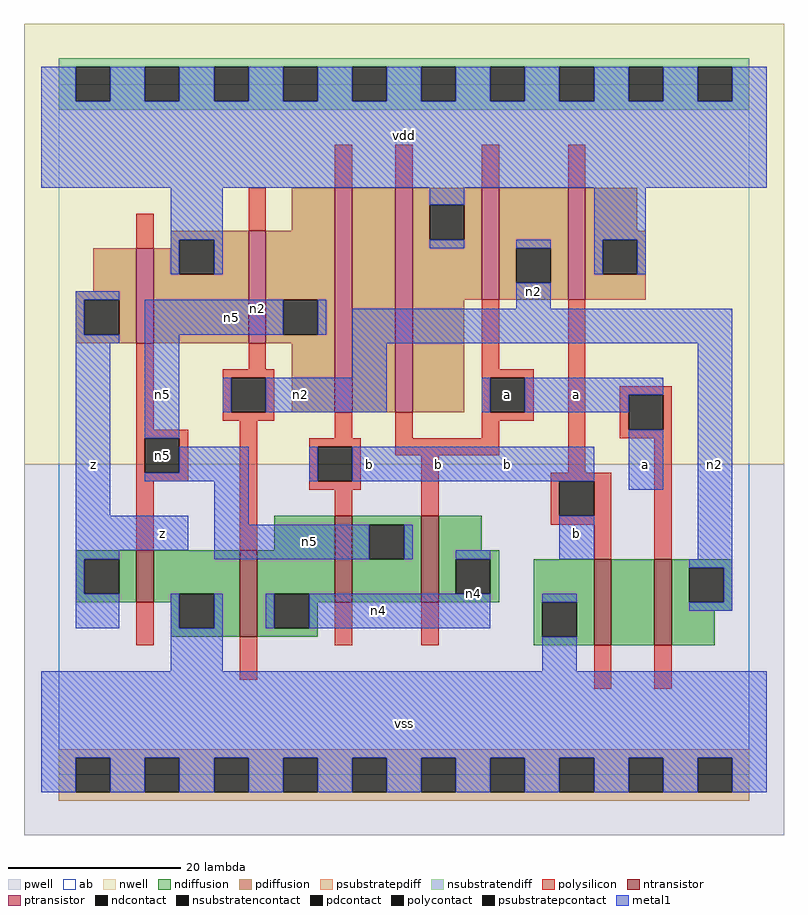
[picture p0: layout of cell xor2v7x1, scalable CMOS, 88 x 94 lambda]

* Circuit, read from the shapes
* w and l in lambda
.subckt xor2v7x1 a b n2 n4 n5 vdd vss z
M1 vss n5 z vss nfet w=6 l=2
M2 n4 n2 vss vss nfet w=10 l=2
M3 n5 b n4 vss nfet w=10 l=2
M4 n4 a n5 vss nfet w=10 l=2
M5 n1 b vss vss nfet w=10 l=2
M6 n2 a n1 vss nfet w=10 l=2
M7 vdd n5 z vdd pfet w=11 l=2
M8 n5 n2 vdd vdd pfet w=13 l=2
M9 n3 b n5 vdd pfet w=26 l=2
M10 vdd a n3 vdd pfet w=26 l=2
M11 n2 a vdd vdd pfet w=13 l=2
M12 vdd b n2 vdd pfet w=13 l=2
.ends

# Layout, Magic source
magic
tech scmos
<< ab >>
rect 0 0 80 80
<< pwell >>
rect -4 -7 84 36
<< nwell >>
rect -4 36 84 87
<< polysilicon >>
rect 32 68 34 73
rect 39 68 41 73
rect 49 68 51 73
rect 59 68 61 73
rect 9 61 11 65
rect 22 63 24 68
rect 9 40 11 50
rect 22 47 24 50
rect 19 46 25 47
rect 19 42 20 46
rect 24 42 25 46
rect 49 47 51 55
rect 49 46 55 47
rect 49 42 50 46
rect 54 42 55 46
rect 19 41 25 42
rect 9 39 15 40
rect 9 35 10 39
rect 14 35 15 39
rect 9 34 15 35
rect 9 26 11 34
rect 21 26 23 41
rect 32 39 34 42
rect 39 39 41 42
rect 49 41 55 42
rect 49 39 51 41
rect 29 38 35 39
rect 29 34 30 38
rect 34 34 35 38
rect 39 37 51 39
rect 29 33 35 34
rect 32 30 34 33
rect 42 30 44 37
rect 59 35 61 55
rect 65 44 71 45
rect 65 40 66 44
rect 70 40 71 44
rect 65 39 71 40
rect 57 34 64 35
rect 57 30 58 34
rect 62 30 64 34
rect 9 15 11 20
rect 57 29 64 30
rect 62 25 64 29
rect 69 25 71 39
rect 21 11 23 16
rect 32 15 34 20
rect 42 15 44 20
rect 62 10 64 15
rect 69 10 71 15
<< ndiffusion >>
rect 25 26 32 30
rect 2 25 9 26
rect 2 21 3 25
rect 7 21 9 25
rect 2 20 9 21
rect 11 21 21 26
rect 11 20 14 21
rect 13 17 14 20
rect 18 17 21 21
rect 13 16 21 17
rect 23 21 32 26
rect 23 17 25 21
rect 29 20 32 21
rect 34 29 42 30
rect 34 25 36 29
rect 40 25 42 29
rect 34 20 42 25
rect 44 26 49 30
rect 44 25 51 26
rect 44 21 46 25
rect 50 21 51 25
rect 44 20 51 21
rect 55 20 62 25
rect 29 17 30 20
rect 23 16 30 17
rect 55 16 56 20
rect 60 16 62 20
rect 55 15 62 16
rect 64 15 69 25
rect 71 24 78 25
rect 71 20 73 24
rect 77 20 78 24
rect 71 19 78 20
rect 71 15 76 19
<< pdiffusion >>
rect 27 63 32 68
rect 13 62 22 63
rect 13 61 14 62
rect 4 56 9 61
rect 2 55 9 56
rect 2 51 3 55
rect 7 51 9 55
rect 2 50 9 51
rect 11 58 14 61
rect 18 58 22 62
rect 11 50 22 58
rect 24 55 32 63
rect 24 51 26 55
rect 30 51 32 55
rect 24 50 32 51
rect 27 42 32 50
rect 34 42 39 68
rect 41 66 49 68
rect 41 62 43 66
rect 47 62 49 66
rect 41 55 49 62
rect 51 61 59 68
rect 51 57 53 61
rect 57 57 59 61
rect 51 55 59 57
rect 61 63 67 68
rect 61 62 68 63
rect 61 58 63 62
rect 67 58 68 62
rect 61 55 68 58
rect 41 42 47 55
<< metal1 >>
rect -2 78 2 82
rect 6 78 10 82
rect 14 78 18 82
rect 22 78 26 82
rect 30 78 34 82
rect 38 78 42 82
rect 46 78 50 82
rect 54 78 58 82
rect 62 78 66 82
rect 70 78 74 82
rect 78 78 82 82
rect -2 68 82 78
rect 13 62 19 68
rect 13 58 14 62
rect 18 58 19 62
rect 43 66 47 68
rect 62 62 68 68
rect 43 61 47 62
rect 53 61 57 62
rect 62 58 63 62
rect 67 58 68 62
rect 2 55 7 56
rect 2 51 3 55
rect 2 50 7 51
rect 10 51 26 55
rect 30 51 31 55
rect 53 54 57 57
rect 2 30 6 50
rect 10 39 14 51
rect 34 50 78 54
rect 34 46 38 50
rect 19 42 20 46
rect 24 42 38 46
rect 49 42 50 46
rect 54 44 70 46
rect 54 42 66 44
rect 14 35 22 38
rect 10 34 22 35
rect 29 34 30 38
rect 34 34 62 38
rect 2 26 15 30
rect 18 29 22 34
rect 66 33 70 40
rect 2 25 7 26
rect 18 25 36 29
rect 40 25 41 29
rect 46 25 50 26
rect 58 25 62 30
rect 74 25 78 50
rect 2 21 3 25
rect 73 24 78 25
rect 2 17 7 21
rect 13 17 14 21
rect 18 17 19 21
rect 24 17 25 21
rect 29 17 50 21
rect 56 20 60 21
rect 13 12 19 17
rect 77 20 78 24
rect 73 19 78 20
rect 56 12 60 16
rect -2 2 82 12
rect -2 -2 2 2
rect 6 -2 10 2
rect 14 -2 18 2
rect 22 -2 26 2
rect 30 -2 34 2
rect 38 -2 42 2
rect 46 -2 50 2
rect 54 -2 58 2
rect 62 -2 66 2
rect 70 -2 74 2
rect 78 -2 82 2
<< ntransistor >>
rect 9 20 11 26
rect 21 16 23 26
rect 32 20 34 30
rect 42 20 44 30
rect 62 15 64 25
rect 69 15 71 25
<< ptransistor >>
rect 9 50 11 61
rect 22 50 24 63
rect 32 42 34 68
rect 39 42 41 68
rect 49 55 51 68
rect 59 55 61 68
<< polycontact >>
rect 20 42 24 46
rect 50 42 54 46
rect 10 35 14 39
rect 30 34 34 38
rect 66 40 70 44
rect 58 30 62 34
<< ndcontact >>
rect 3 21 7 25
rect 14 17 18 21
rect 25 17 29 21
rect 36 25 40 29
rect 46 21 50 25
rect 56 16 60 20
rect 73 20 77 24
<< pdcontact >>
rect 3 51 7 55
rect 14 58 18 62
rect 26 51 30 55
rect 43 62 47 66
rect 53 57 57 61
rect 63 58 67 62
<< psubstratepcontact >>
rect 2 -2 6 2
rect 10 -2 14 2
rect 18 -2 22 2
rect 26 -2 30 2
rect 34 -2 38 2
rect 42 -2 46 2
rect 50 -2 54 2
rect 58 -2 62 2
rect 66 -2 70 2
rect 74 -2 78 2
<< nsubstratencontact >>
rect 2 78 6 82
rect 10 78 14 82
rect 18 78 22 82
rect 26 78 30 82
rect 34 78 38 82
rect 42 78 46 82
rect 50 78 54 82
rect 58 78 62 82
rect 66 78 70 82
rect 74 78 78 82
<< psubstratepdiff >>
rect 0 2 80 3
rect 0 -2 2 2
rect 6 -2 10 2
rect 14 -2 18 2
rect 22 -2 26 2
rect 30 -2 34 2
rect 38 -2 42 2
rect 46 -2 50 2
rect 54 -2 58 2
rect 62 -2 66 2
rect 70 -2 74 2
rect 78 -2 80 2
rect 0 -3 80 -2
<< nsubstratendiff >>
rect 0 82 80 83
rect 0 78 2 82
rect 6 78 10 82
rect 14 78 18 82
rect 22 78 26 82
rect 30 78 34 82
rect 38 78 42 82
rect 46 78 50 82
rect 54 78 58 82
rect 62 78 66 82
rect 70 78 74 82
rect 78 78 80 82
rect 0 77 80 78
<< labels >>
rlabel polycontact 12 37 12 37 6 n5
rlabel ptransistor 23 54 23 54 6 n2
rlabel metal1 4 36 4 36 6 z
rlabel metal1 12 28 12 28 6 z
rlabel metal1 12 44 12 44 6 n5
rlabel metal1 40 6 40 6 6 vss
rlabel metal1 29 27 29 27 6 n5
rlabel metal1 28 44 28 44 6 n2
rlabel metal1 44 36 44 36 6 b
rlabel metal1 36 36 36 36 6 b
rlabel metal1 20 53 20 53 6 n5
rlabel metal1 40 74 40 74 6 vdd
rlabel metal1 48 21 48 21 6 n4
rlabel metal1 37 19 37 19 6 n4
rlabel metal1 60 28 60 28 6 b
rlabel metal1 52 36 52 36 6 b
rlabel polycontact 52 44 52 44 6 a
rlabel metal1 60 44 60 44 6 a
rlabel metal1 55 56 55 56 6 n2
rlabel metal1 68 36 68 36 6 a
rlabel metal1 76 36 76 36 6 n2
<< end >>
